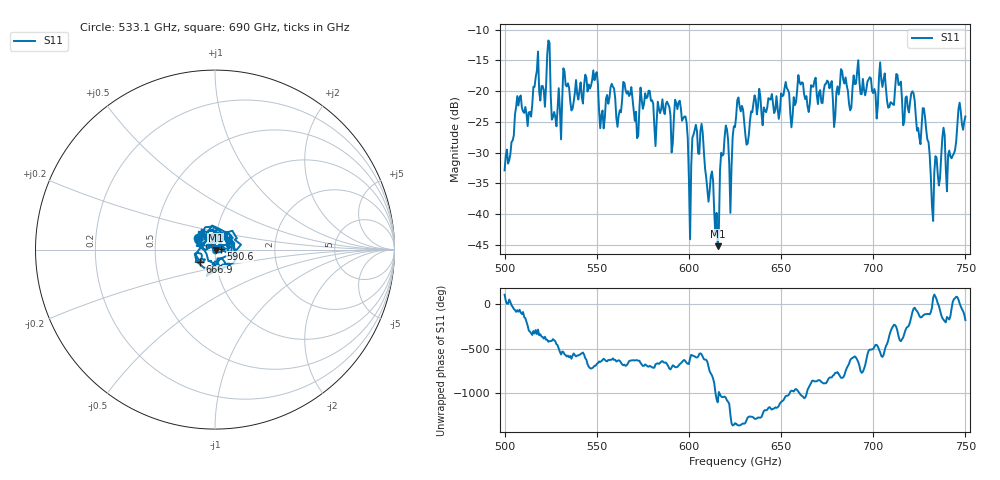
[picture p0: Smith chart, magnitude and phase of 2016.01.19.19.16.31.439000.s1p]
!Created with skrf (http://scikit-rf.org).
# GHz S RI R 50.0
!freq ReS11 ImS11
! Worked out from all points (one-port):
!   401 points, 500 GHz to 750 GHz, reference 50 ohm
!   lowest |S11| = -45.2 dB at 615.6 GHz (marker M1), VSWR 1.01, Z = 50.5 - j0.207 ohm
!   |S11| at or under -10 dB: start of sweep to end of sweep
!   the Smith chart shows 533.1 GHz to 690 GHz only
!   S11 on the Smith chart (normalised r, x): 533.1 GHz: 0.82, +0.11; 590.6 GHz: 1.06, +0.01; 666.9 GHz: 0.84, -0.12; 690 GHz: 0.85, +0.14
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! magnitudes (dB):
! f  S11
! 500 GHz  -32.9
! 516.9 GHz  -17.7
! 520.6 GHz  -19.2
! 523.8 GHz  -11.8
! 526.9 GHz  -23.4
! 531.2 GHz  -21.3
! 533.1 GHz  -19.0
! 562.5 GHz  -23.1
! 565.6 GHz  -19.8
! 571.2 GHz  -23.4
! 577.5 GHz  -21.0
! 590.6 GHz  -30.0
! 593.8 GHz  -22.9
! 600.6 GHz  -44.1
! 603.1 GHz  -26.3
! 607.5 GHz  -26.8
! 615.6 GHz  -45.2
! 618.8 GHz  -30.3
! 622.5 GHz  -39.8
! 625 GHz  -25.9
! 656.2 GHz  -24.0
! 666.9 GHz  -19.2
! 687.5 GHz  -23.1
! 690 GHz  -18.9
! 718.8 GHz  -22.8
! 728.1 GHz  -24.3
! 731.9 GHz  -38.7
! 750 GHz  -24.1
